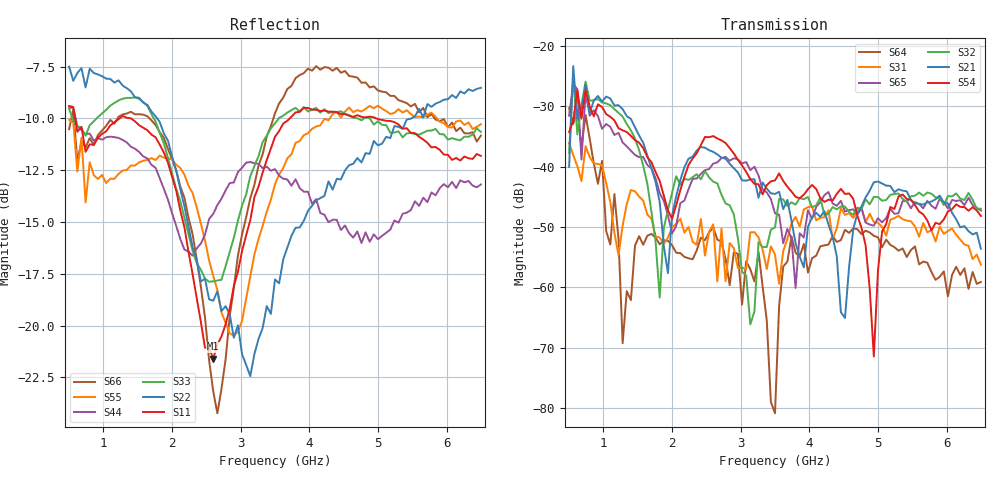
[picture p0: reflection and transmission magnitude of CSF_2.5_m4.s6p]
!Keysight Technologies,M9804A,MY58100912,A.14.10.03
!Date: Thursday, April 27, 2023 10:28:33
!Correction: S11(C  6-Port  )
!S12(C  6-Port  )
!S13(C  6-Port  )
!S14(C  6-Port  )
!S15(C  6-Port  )
!S16(C  6-Port  )
!S21(C  6-Port  )
!S22(C  6-Port  )
!S23(C  6-Port  )
!S24(C  6-Port  )
!S25(C  6-Port  )
!S26(C  6-Port  )
!S31(C  6-Port  )
!S32(C  6-Port  )
!S33(C  6-Port  )
!S34(C  6-Port  )
!S35(C  6-Port  )
!S36(C  6-Port  )
!S41(C  6-Port  )
!S42(C  6-Port  )
!S43(C  6-Port  )
!S44(C  6-Port  )
!S45(C  6-Port  )
!S46(C  6-Port  )
!S51(C  6-Port  )
!S52(C  6-Port  )
!S53(C  6-Port  )
!S54(C  6-Port  )
!S55(C  6-Port  )
!S56(C  6-Port  )
!S61(C  6-Port  )
!S62(C  6-Port  )
!S63(C  6-Port  )
!S64(C  6-Port  )
!S65(C  6-Port  )
!S66(C  6-Port  )
!S6P File: Measurement: :
# Hz S  RI  R 50
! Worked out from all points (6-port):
!   101 points, 500 MHz to 6.5 GHz, reference 50 ohm
!   strongest paths, dB at 500 MHz, 2 GHz, 3.5 GHz, 5 GHz, 6.5 GHz:
!     S54: -34.3, -48.6, -42.3, -57.3, -48.2
!     S21: -40.0, -48.1, -44.5, -42.5, -53.6
!     S32: -37.7, -44.4, -50.1, -45.0, -47.0
!     S65: -31.6, -51.1, -47.7, -48.5, -47.3
!     S31: -36.1, -50.1, -54.6, -49.3, -56.3
!     S64: -30.3, -53.0, -80.9, -51.7, -59.1
!   lowest |S11| = -21.6 dB at 2.6 GHz (marker M1), VSWR 1.18, Z = 42.6 + j2.04 ohm
!   |S11| at or under -10 dB: 587.5 MHz to 1.236 GHz (648.4 MHz wide, 71.1 % of centre); 1.401 GHz to 3.715 GHz (2.315 GHz wide, 90.5 % of centre); 4.975 GHz to end of sweep
